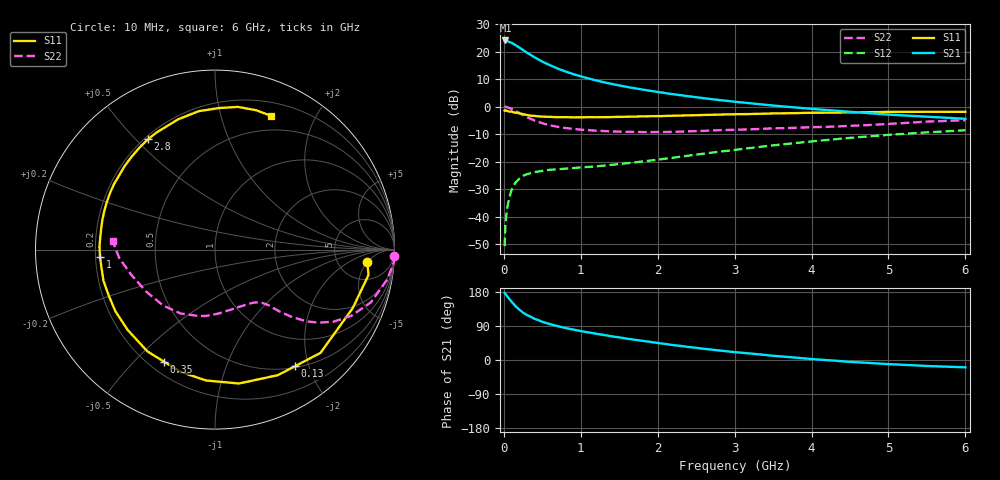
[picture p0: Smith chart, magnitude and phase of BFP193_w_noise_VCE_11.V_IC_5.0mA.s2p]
! Infineon Technologies  Discrete & RF Semiconductors
! BFP193
! VCE =  11. V,  IC =  5.0 mA
! Common Emitter S-Parameters:  Jan 2017
# GHz  S  MA  R  50
!  f  S11  S21  S12  S22
! GHz  MAG  ANG  MAG  ANG  MAG  ANG  MAG  ANG
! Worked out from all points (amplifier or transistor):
!   77 points, 10 MHz to 6 GHz, reference 50 ohm
!   highest |S21| = 24.1 dB at 20 MHz (marker M1)
!   |S21| within 3 dB of that: start of sweep to 224.5 MHz
!   unconditionally stable (mu >= 1): 1.425 GHz to 2.608 GHz
!   at 130 MHz: K = 0.14, MSG = 25.7 dB, |S12| = -28.7 dB
!   at 2.2 GHz: K = 1.06, MAG = 10.1 dB, |S12| = -18.6 dB
!   at 6 GHz: K = 0.84, MSG = 2.1 dB, |S12| = -8.6 dB
!   lowest NFmin = 0.92 dB at 450 MHz
!   S11 on the Smith chart (normalised r, x): 10 MHz: 10, -5; 130 MHz: 0.52, -1.78; 350 MHz: 0.26, -0.61; 1 GHz: 0.22, -0.03; 2.8 GHz: 0.21, +0.54; 6 GHz: 0.34, +1.45
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0.01  0.8518 -4.8  15.82 177.2  0.0029 86.4  1 -2.0
0.02  0.8669 -9.4  16.05 174.5  0.0067 87.1  0.9982 -4.2
0.05  0.8337 -23.0  15.51 166.3  0.016 79.6  0.9734 -9.9
0.1  0.8226 -44.4  14.61 153.8  0.0303 68.1  0.9167 -18.7
0.13  0.7879 -55.6  13.73 147.2  0.0368 61.9  0.8712 -22.9
0.15  0.7824 -63.4  13.26 142.4  0.0413 58.8  0.8437 -26.0
0.2  0.7579 -79.9  11.98 133.1  0.0488 51.9  0.7717 -31.4
0.25  0.7308 -93.9  10.76 124.9  0.0552 46.8  0.7044 -35.3
0.3  0.7079 -105.7  9.631 118.7  0.0592 42.4  0.6459 -38.2
0.35  0.6859 -114.5  8.736 114.1  0.0619 39.9  0.6024 -39.8
0.4  0.6808 -123.6  7.91 108.5  0.0647 37.6  0.5595 -41.6
0.5  0.661 -137.5  6.616 100.9  0.068 34.7  0.5002 -43.7
0.6  0.6528 -148.2  5.679 94.6  0.0712 33.1  0.4592 -45.1
1  0.6419 -176.4  3.567 76.4  0.0787 34.8  0.3823 -50.3
1.1  0.6439 178.5  3.265 72.8  0.0801 35.8  0.374 -51.9
1.5  0.6526 161.3  2.436 59.6  0.0905 40.3  0.3515 -60.5
2.1  0.6786 140.3  1.77 42.3  0.1133 46.4  0.3469 -77.4
2.8  0.7192 121.3  1.324 25.1  0.1514 48.6  0.3743 -98.6
3.1  0.7321 114.3  1.195 19.0  0.1702 47.5  0.384 -107.2
4.1  0.7777 95.0  0.892 1.1  0.2408 40.7  0.4271 -136.1
5.1  0.805 79.4  0.706 -11.8  0.3139 29.5  0.4949 -165.8
6  0.8081 67.2  0.603 -19.4  0.3728 18.2  0.571 175.4
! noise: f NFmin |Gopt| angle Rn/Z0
0.45  0.92  0.28  104  0.1
0.9  1.03  0.39  150  0.07
1.9  1.97  0.61  -151  0.13
2.4  2.42  0.67  -131  0.35
